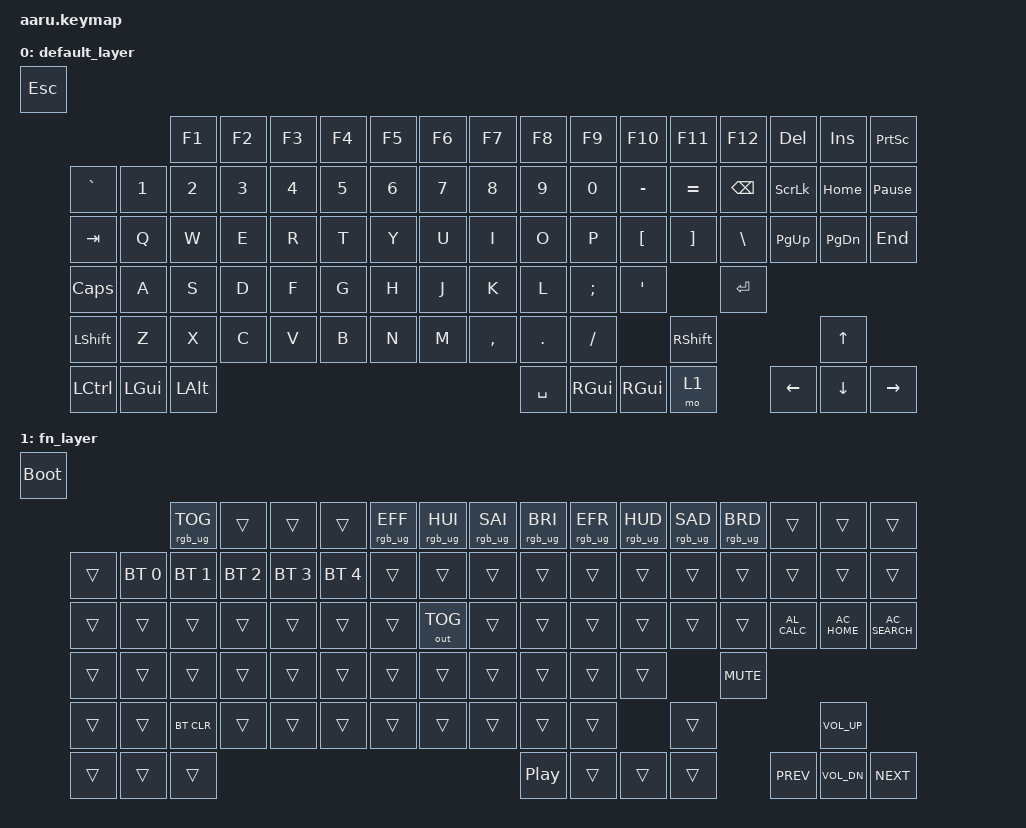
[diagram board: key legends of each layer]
#include <behaviors.dtsi>
#include <dt-bindings/zmk/bt.h>
#include <dt-bindings/zmk/keys.h>
#include <dt-bindings/zmk/outputs.h>
#include <dt-bindings/zmk/rgb.h>

/ {
    keymap {
        compatible = "zmk,keymap";

        default_layer {
            bindings = <
&kp ESC
                              &kp F1    &kp F2  &kp F3  &kp F4  &kp F5  &kp F6  &kp F7     &kp F8     &kp F9    &kp F10    &kp F11    &kp F12   &kp DEL    &kp INS    &kp PSCRN
         &kp GRAVE  &kp N1    &kp N2    &kp N3  &kp N4  &kp N5  &kp N6  &kp N7  &kp N8     &kp N9     &kp N0    &kp MINUS  &kp EQUAL  &kp BSPC  &kp SLCK   &kp HOME   &kp PAUSE_BREAK
         &kp TAB    &kp Q     &kp W     &kp E   &kp R   &kp T   &kp Y   &kp U   &kp I      &kp O      &kp P     &kp LBKT   &kp RBKT   &kp BSLH  &kp PG_UP  &kp PG_DN  &kp END
         &kp CLCK   &kp A     &kp S     &kp D   &kp F   &kp G   &kp H   &kp J   &kp K      &kp L      &kp SEMI  &kp SQT               &kp RET
         &kp LSHFT  &kp Z     &kp X     &kp C   &kp V   &kp B   &kp N   &kp M   &kp COMMA  &kp DOT    &kp FSLH             &kp RSHFT                       &kp UP
         &kp LCTRL  &kp LGUI  &kp LALT                                                     &kp SPACE  &kp RGUI  &kp RGUI   &mo 1                &kp LEFT   &kp DOWN   &kp RIGHT
            >;
        };

        fn_layer {
            bindings = <
&bootloader
                                   &rgb_ug RGB_TOG  &trans        &trans        &trans        &rgb_ug RGB_EFF  &rgb_ug RGB_HUI  &rgb_ug RGB_SAI  &rgb_ug RGB_BRI  &rgb_ug RGB_EFR  &rgb_ug RGB_HUD  &rgb_ug RGB_SAD  &rgb_ug RGB_BRD  &trans         &trans         &trans
             &trans  &bt BT_SEL 0  &bt BT_SEL 1     &bt BT_SEL 2  &bt BT_SEL 3  &bt BT_SEL 4  &trans           &trans           &trans           &trans           &trans           &trans           &trans           &trans           &trans         &trans         &trans
             &trans  &trans        &trans           &trans        &trans        &trans        &trans           &out OUT_TOG     &trans           &trans           &trans           &trans           &trans           &trans           &kp C_AL_CALC  &kp C_AC_HOME  &kp C_AC_SEARCH
             &trans  &trans        &trans           &trans        &trans        &trans        &trans           &trans           &trans           &trans           &trans           &trans                            &kp C_MUTE
             &trans  &trans        &bt BT_CLR       &trans        &trans        &trans        &trans           &trans           &trans           &trans           &trans                            &trans                                           &kp C_VOL_UP
             &trans  &trans        &trans                                                                                                        &kp C_PP         &trans           &trans           &trans                            &kp C_PREV     &kp C_VOL_DN   &kp C_NEXT
            >;
        };
    };
};
